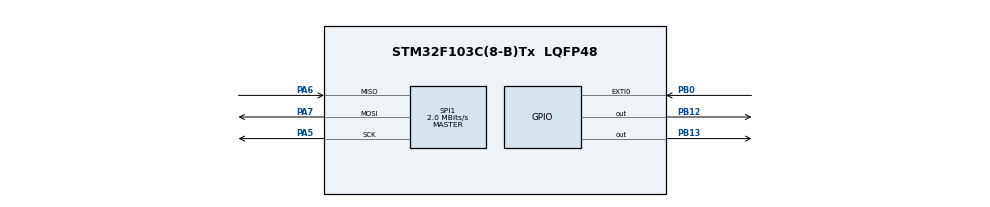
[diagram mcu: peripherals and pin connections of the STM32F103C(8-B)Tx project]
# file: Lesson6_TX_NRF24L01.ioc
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Mcu.Family=STM32F1
Mcu.Name=STM32F103C(8-B)Tx
Mcu.Package=LQFP48
NVIC.EXTI0_IRQn=true\:0\:0\:false\:false\:true\:true\:true\:true
NVIC.PriorityGroup=NVIC_PRIORITYGROUP_4
PA13.Mode=Serial_Wire
PA13.Signal=SYS_JTMS-SWDIO
PA14.Mode=Serial_Wire
PA14.Signal=SYS_JTCK-SWCLK
PA5.Mode=Full_Duplex_Master
PA5.Signal=SPI1_SCK
PA6.Mode=Full_Duplex_Master
PA6.Signal=SPI1_MISO
PA7.Mode=Full_Duplex_Master
PA7.Signal=SPI1_MOSI
PB0.GPIO_ModeDefaultEXTI=GPIO_MODE_IT_FALLING
PB0.GPIO_PuPd=GPIO_PULLUP
PB0.Signal=GPXTI0
PB12.Signal=GPIO_Output
PB13.PinState=GPIO_PIN_SET
PB13.Signal=GPIO_Output
ProjectManager.HeapSize=0x200
ProjectManager.StackSize=0x400
ProjectManager.TargetToolchain=STM32CubeIDE
RCC.APB1Freq_Value=8000000
RCC.APB2Freq_Value=8000000
SPI1.BaudRatePrescaler=SPI_BAUDRATEPRESCALER_4
SPI1.CalculateBaudRate=2.0 MBits/s
SPI1.Direction=SPI_DIRECTION_2LINES
SPI1.Mode=SPI_MODE_MASTER
SPI1.VirtualType=VM_MASTER
TIM1.Prescaler=7
VP_TIM1_VS_ClockSourceINT.Mode=Internal
board=custom

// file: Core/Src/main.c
/* USER CODE BEGIN Header */
/**
  ******************************************************************************
  * @file           : main.c
  * @brief          : Main program body
  ******************************************************************************
  * @attention
  *
  * Copyright (c) 2026 STMicroelectronics.
  * All rights reserved.
  *
  * This software is licensed under terms that can be found in the LICENSE file
  * in the root directory of this software component.
  * If no LICENSE file comes with this software, it is provided AS-IS.
  *
  ******************************************************************************
  */
/* USER CODE END Header */
#include "main.h"

/* USER CODE BEGIN Includes */
#include "string.h"
#include "NRF24.h"
#include "NRF24_reg_addresses.h"
/* USER CODE END Includes */

SPI_HandleTypeDef hspi1;

TIM_HandleTypeDef htim1;

void SystemClock_Config(void);
static void MX_GPIO_Init(void);
static void MX_SPI1_Init(void);
static void MX_TIM1_Init(void);

/* USER CODE BEGIN 0 */

#define PLD_S 32

uint8_t tx_addr[5] = {0x45, 0x55, 0x67, 0x10, 0x21};

uint16_t data = 0;

uint8_t dataT[PLD_S];

/* USER CODE END 0 */

int main(void)
{

  /* MCU Configuration--------------------------------------------------------*/

  /* Reset of all peripherals, Initializes the Flash interface and the Systick. */
  HAL_Init();

  /* Configure the system clock */
  SystemClock_Config();

  /* Initialize all configured peripherals */
  MX_GPIO_Init();
  MX_SPI1_Init();
  MX_TIM1_Init();
  /* USER CODE BEGIN 2 */

  csn_high();
  ce_high();

  HAL_Delay(5);

  ce_low();

  nrf24_init();

  uint8_t status = nrf24_r_status();

  nrf24_stop_listen();

  nrf24_auto_ack_all(auto_ack);
  nrf24_en_ack_pld(disable);
  nrf24_dpl(disable);

  nrf24_set_crc(no_crc, _1byte);

  nrf24_tx_pwr(_0dbm);
  nrf24_data_rate(_1mbps);
  nrf24_set_channel(90);
  nrf24_set_addr_width(5);

  nrf24_set_rx_dpl(0, disable);
  nrf24_set_rx_dpl(1, disable);
  nrf24_set_rx_dpl(2, disable);
  nrf24_set_rx_dpl(3, disable);
  nrf24_set_rx_dpl(4, disable);
  nrf24_set_rx_dpl(5, disable);

  nrf24_pipe_pld_size(0, PLD_S);

  nrf24_auto_retr_delay(4);
  nrf24_auto_retr_limit(10);

  nrf24_open_tx_pipe(tx_addr);
  nrf24_open_rx_pipe(0, tx_addr);
  ce_high();

	__HAL_RCC_GPIOC_CLK_ENABLE();
	GPIO_InitTypeDef GPIO_InitStruct;
	GPIO_InitStruct.Pin = GPIO_PIN_13;
	GPIO_InitStruct.Mode = GPIO_MODE_OUTPUT_PP;
	GPIO_InitStruct.Speed = GPIO_SPEED_FREQ_LOW;
	HAL_GPIO_Init(GPIOC, &GPIO_InitStruct);
	HAL_GPIO_WritePin(GPIOC, GPIO_PIN_13, GPIO_PIN_SET);

  /* USER CODE END 2 */

  /* Infinite loop */
	while (1) {

		/* USER CODE BEGIN 3 */
		for (int i = 0; i < 10; i++) {
			HAL_GPIO_TogglePin(GPIOC, GPIO_PIN_13);
			HAL_Delay(500);
			data = i;
			nrf24_type_to_uint8_t(data, dataT, sizeof(data));

			uint8_t val = nrf24_transmit(dataT, sizeof(dataT));

		}

	}
  /* USER CODE END 3 */
}

void SystemClock_Config(void)
{
  RCC_OscInitTypeDef RCC_OscInitStruct = {0};
  RCC_ClkInitTypeDef RCC_ClkInitStruct = {0};

  /** Initializes the RCC Oscillators according to the specified parameters
  * in the RCC_OscInitTypeDef structure.
  */
  RCC_OscInitStruct.OscillatorType = RCC_OSCILLATORTYPE_HSI;
  RCC_OscInitStruct.HSIState = RCC_HSI_ON;
  RCC_OscInitStruct.HSICalibrationValue = RCC_HSICALIBRATION_DEFAULT;
  RCC_OscInitStruct.PLL.PLLState = RCC_PLL_NONE;
  if (HAL_RCC_OscConfig(&RCC_OscInitStruct) != HAL_OK)
  {
    Error_Handler();
  }

  /** Initializes the CPU, AHB and APB buses clocks
  */
  RCC_ClkInitStruct.ClockType = RCC_CLOCKTYPE_HCLK|RCC_CLOCKTYPE_SYSCLK
                              |RCC_CLOCKTYPE_PCLK1|RCC_CLOCKTYPE_PCLK2;
  RCC_ClkInitStruct.SYSCLKSource = RCC_SYSCLKSOURCE_HSI;
  RCC_ClkInitStruct.AHBCLKDivider = RCC_SYSCLK_DIV1;
  RCC_ClkInitStruct.APB1CLKDivider = RCC_HCLK_DIV1;
  RCC_ClkInitStruct.APB2CLKDivider = RCC_HCLK_DIV1;

  if (HAL_RCC_ClockConfig(&RCC_ClkInitStruct, FLASH_LATENCY_0) != HAL_OK)
  {
    Error_Handler();
  }
}

static void MX_SPI1_Init(void)
{

  /* SPI1 parameter configuration*/
  hspi1.Instance = SPI1;
  hspi1.Init.Mode = SPI_MODE_MASTER;
  hspi1.Init.Direction = SPI_DIRECTION_2LINES;
  hspi1.Init.DataSize = SPI_DATASIZE_8BIT;
  hspi1.Init.CLKPolarity = SPI_POLARITY_LOW;
  hspi1.Init.CLKPhase = SPI_PHASE_1EDGE;
  hspi1.Init.NSS = SPI_NSS_SOFT;
  hspi1.Init.BaudRatePrescaler = SPI_BAUDRATEPRESCALER_4;
  hspi1.Init.FirstBit = SPI_FIRSTBIT_MSB;
  hspi1.Init.TIMode = SPI_TIMODE_DISABLE;
  hspi1.Init.CRCCalculation = SPI_CRCCALCULATION_DISABLE;
  hspi1.Init.CRCPolynomial = 10;
  if (HAL_SPI_Init(&hspi1) != HAL_OK)
  {
    Error_Handler();
  }

}

static void MX_TIM1_Init(void)
{

  TIM_ClockConfigTypeDef sClockSourceConfig = {0};
  TIM_MasterConfigTypeDef sMasterConfig = {0};

  htim1.Instance = TIM1;
  htim1.Init.Prescaler = 7;
  htim1.Init.CounterMode = TIM_COUNTERMODE_UP;
  htim1.Init.Period = 65535;
  htim1.Init.ClockDivision = TIM_CLOCKDIVISION_DIV1;
  htim1.Init.RepetitionCounter = 0;
  htim1.Init.AutoReloadPreload = TIM_AUTORELOAD_PRELOAD_DISABLE;
  if (HAL_TIM_Base_Init(&htim1) != HAL_OK)
  {
    Error_Handler();
  }
  sClockSourceConfig.ClockSource = TIM_CLOCKSOURCE_INTERNAL;
  if (HAL_TIM_ConfigClockSource(&htim1, &sClockSourceConfig) != HAL_OK)
  {
    Error_Handler();
  }
  sMasterConfig.MasterOutputTrigger = TIM_TRGO_RESET;
  sMasterConfig.MasterSlaveMode = TIM_MASTERSLAVEMODE_DISABLE;
  if (HAL_TIMEx_MasterConfigSynchronization(&htim1, &sMasterConfig) != HAL_OK)
  {
    Error_Handler();
  }

}

static void MX_GPIO_Init(void)
{
  GPIO_InitTypeDef GPIO_InitStruct = {0};

  /* GPIO Ports Clock Enable */
  __HAL_RCC_GPIOA_CLK_ENABLE();
  __HAL_RCC_GPIOB_CLK_ENABLE();

  /*Configure GPIO pin Output Level */
  HAL_GPIO_WritePin(GPIOB, GPIO_PIN_12, GPIO_PIN_RESET);

  /*Configure GPIO pin Output Level */
  HAL_GPIO_WritePin(GPIOB, GPIO_PIN_13, GPIO_PIN_SET);

  /*Configure GPIO pin : PB0 */
  GPIO_InitStruct.Pin = GPIO_PIN_0;
  GPIO_InitStruct.Mode = GPIO_MODE_IT_FALLING;
  GPIO_InitStruct.Pull = GPIO_PULLUP;
  HAL_GPIO_Init(GPIOB, &GPIO_InitStruct);

  /*Configure GPIO pins : PB12 PB13 */
  GPIO_InitStruct.Pin = GPIO_PIN_12|GPIO_PIN_13;
  GPIO_InitStruct.Mode = GPIO_MODE_OUTPUT_PP;
  GPIO_InitStruct.Pull = GPIO_NOPULL;
  GPIO_InitStruct.Speed = GPIO_SPEED_FREQ_LOW;
  HAL_GPIO_Init(GPIOB, &GPIO_InitStruct);

  /* EXTI interrupt init*/
  HAL_NVIC_SetPriority(EXTI0_IRQn, 0, 0);
  HAL_NVIC_EnableIRQ(EXTI0_IRQn);

}

void Error_Handler(void)
{
  __disable_irq();
  while (1)
  {
  }
}
